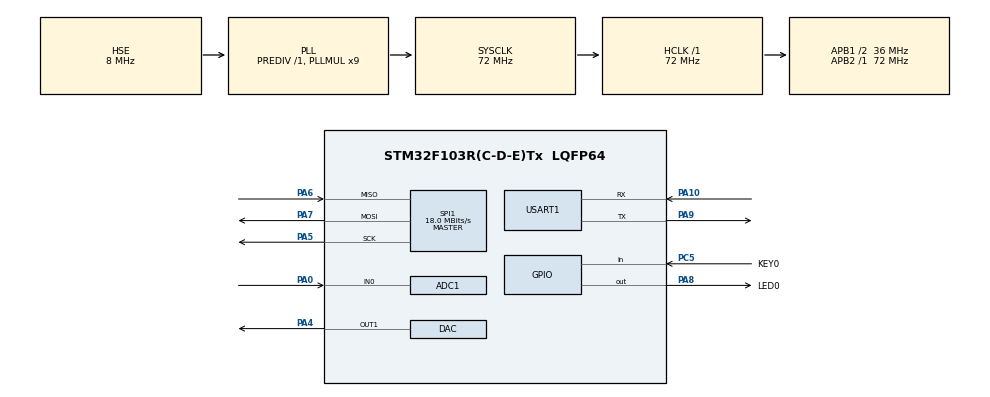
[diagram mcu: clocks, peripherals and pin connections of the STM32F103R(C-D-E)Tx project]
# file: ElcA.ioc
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ADC1.Channel-3\#ChannelRegularConversion=ADC_CHANNEL_0
ADC1.ExternalTrigConv=ADC_EXTERNALTRIGCONV_T3_TRGO
ADC1.NbrOfConversionFlag=1
ADC1.Rank-3\#ChannelRegularConversion=1
ADC1.SamplingTime-3\#ChannelRegularConversion=ADC_SAMPLETIME_1CYCLE_5
ADC1.master=1
DAC.DAC_Trigger=DAC_TRIGGER_T4_TRGO
DAC.WaveGeneration=DISABLE
Dma.ADC1.1.Direction=DMA_PERIPH_TO_MEMORY
Dma.ADC1.1.Instance=DMA1_Channel1
Dma.ADC1.1.MemDataAlignment=DMA_MDATAALIGN_WORD
Dma.ADC1.1.MemInc=DMA_MINC_ENABLE
Dma.ADC1.1.Mode=DMA_CIRCULAR
Dma.ADC1.1.PeriphDataAlignment=DMA_PDATAALIGN_WORD
Dma.ADC1.1.PeriphInc=DMA_PINC_DISABLE
Dma.ADC1.1.Priority=DMA_PRIORITY_LOW
Dma.DAC_CH1.0.Direction=DMA_MEMORY_TO_PERIPH
Dma.DAC_CH1.0.Instance=DMA2_Channel3
Dma.DAC_CH1.0.MemDataAlignment=DMA_MDATAALIGN_WORD
Dma.DAC_CH1.0.MemInc=DMA_MINC_ENABLE
Dma.DAC_CH1.0.Mode=DMA_CIRCULAR
Dma.DAC_CH1.0.PeriphDataAlignment=DMA_PDATAALIGN_WORD
Dma.DAC_CH1.0.PeriphInc=DMA_PINC_DISABLE
Dma.DAC_CH1.0.Priority=DMA_PRIORITY_LOW
Dma.Request0=DAC_CH1
Dma.Request1=ADC1
Mcu.Family=STM32F1
Mcu.Name=STM32F103R(C-D-E)Tx
Mcu.Package=LQFP64
NVIC.ADC1_2_IRQn=true\:0\:0\:false\:false\:true\:true\:true\:true
NVIC.DMA1_Channel1_IRQn=true\:0\:0\:false\:false\:true\:false\:true\:true
NVIC.DMA2_Channel3_IRQn=true\:0\:0\:false\:false\:true\:false\:true\:true
NVIC.PriorityGroup=NVIC_PRIORITYGROUP_4
PA0-WKUP.Signal=ADCx_IN0
PA10.Mode=Asynchronous
PA10.Signal=USART1_RX
PA13.Mode=Serial_Wire
PA13.Signal=SYS_JTMS-SWDIO
PA14.Mode=Serial_Wire
PA14.Signal=SYS_JTCK-SWCLK
PA4.Signal=COMP_DAC1_group
PA5.Mode=Full_Duplex_Master
PA5.Signal=SPI1_SCK
PA6.Mode=Full_Duplex_Master
PA6.Signal=SPI1_MISO
PA7.Mode=Full_Duplex_Master
PA7.Signal=SPI1_MOSI
PA8.GPIO_Label=LED0
PA8.GPIO_PuPd=GPIO_PULLUP
PA8.PinState=GPIO_PIN_SET
PA8.Signal=GPIO_Output
PA9.Mode=Asynchronous
PA9.Signal=USART1_TX
PC5.GPIO_Label=KEY0
PC5.GPIO_PuPd=GPIO_PULLUP
PC5.Signal=GPIO_Input
PD0-OSC_IN.Mode=HSE-External-Oscillator
PD0-OSC_IN.Signal=RCC_OSC_IN
PD1-OSC_OUT.Mode=HSE-External-Oscillator
PD1-OSC_OUT.Signal=RCC_OSC_OUT
ProjectManager.HeapSize=0x200
ProjectManager.StackSize=0x400
ProjectManager.TargetToolchain=MDK-ARM V5.32
RCC.ADCPresc=RCC_ADCPCLK2_DIV6
RCC.AHBFreq_Value=72000000
RCC.APB1CLKDivider=RCC_HCLK_DIV2
RCC.APB1Freq_Value=36000000
RCC.APB1TimFreq_Value=72000000
RCC.APB2Freq_Value=72000000
RCC.APB2TimFreq_Value=72000000
RCC.HCLKFreq_Value=72000000
RCC.PLLMUL=RCC_PLL_MUL9
RCC.PLLSourceVirtual=RCC_PLLSOURCE_HSE
RCC.SYSCLKFreq_VALUE=72000000
RCC.SYSCLKSource=RCC_SYSCLKSOURCE_PLLCLK
RCC.USBFreq_Value=72000000
SH.ADCx_IN0.0=ADC1_IN0,IN0
SH.COMP_DAC1_group.0=DAC_OUT1,DAC_OUT1
SPI1.BaudRatePrescaler=SPI_BAUDRATEPRESCALER_4
SPI1.CalculateBaudRate=18.0 MBits/s
SPI1.Direction=SPI_DIRECTION_2LINES
SPI1.Mode=SPI_MODE_MASTER
SPI1.VirtualType=VM_MASTER
TIM3.Period=20
TIM3.Prescaler=71
TIM3.TIM_MasterOutputTrigger=TIM_TRGO_UPDATE
TIM4.Period=10
TIM4.Prescaler=71
TIM4.TIM_MasterOutputTrigger=TIM_TRGO_UPDATE
TIM6.Prescaler=71
USART1.VirtualMode=VM_ASYNC
VP_TIM3_VS_ClockSourceINT.Mode=Internal
VP_TIM4_VS_ClockSourceINT.Mode=Internal
VP_TIM6_VS_ClockSourceINT.Mode=Enable_Timer
VP_TIM6_VS_OPM.Mode=OPM_bit
board=custom

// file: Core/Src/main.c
/* USER CODE BEGIN Header */
/**
  ******************************************************************************
  * @file           : main.c
  * @brief          : Main program body
  ******************************************************************************
  * @attention
  *
  * Copyright (c) 2023 STMicroelectronics.
  * All rights reserved.
  *
  * This software is licensed under terms that can be found in the LICENSE file
  * in the root directory of this software component.
  * If no LICENSE file comes with this software, it is provided AS-IS.
  *
  ******************************************************************************
  */
/* USER CODE END Header */
#include "main.h"
#include "adc.h"
#include "dac.h"
#include "dma.h"
#include "spi.h"
#include "tim.h"
#include "usart.h"
#include "gpio.h"
/* USER CODE BEGIN Includes */
#include "lcd9341.h"
#include "stdio.h"
#include "mygpio.h"
#include "string.h"
#include "Stdbool.h"
/* USER CODE END Includes */

/* USER CODE BEGIN PTD */
uint32_t wave[260]={0};
uint8_t wcount=0;
float vmax=0,vmin=3000;
int vmaxc=0,vminc=0,vpp=0,freq;
bool finish_flag=0;
/* USER CODE END PTD */

void SystemClock_Config(void);

/* USER CODE BEGIN 0 */

void GUI_INIT()
{
		//unsigned short int i,j;

		//LCD_ShowString(100,0,100,16,16, "1KHZ");

		LCD_DrawRectangle(19,15,281,215);

		LCD_ShowString(1,208,18,12,12, " -2V");
		LCD_ShowString(1,170,18,12,12, " -1V");
		LCD_ShowString(1,132,18,12,12, " 0V");
		LCD_ShowString(1,94,18,12,12, " 1V");
		LCD_ShowString(1,56,18,12,12, " 2V");
		LCD_ShowString(1,18,18,12,12, " 3V");

		LCD_ShowString(16,218,18,12,12, "0");
		LCD_ShowString(60,218,18,12,12, "200");
		LCD_ShowString(115,218,24,12,12, "400");
		LCD_ShowString(164,218,24,12,12, "600");
		LCD_ShowString(213,218,24,12,12, "800");
		LCD_ShowString(262,218,24,12,12, "1000");
    LCD_ShowString(285,218,24,12,12, "us");
}

/* USER CODE END 0 */

int main(void)
{
  /* USER CODE BEGIN 1 */
  //颜色设置
  POINT_COLOR = RED;
  BACK_COLOR = BLACK;
  int i,j,dac=0;
  /* USER CODE END 1 */

  /* MCU Configuration--------------------------------------------------------*/

  /* Reset of all peripherals, Initializes the Flash interface and the Systick. */
  HAL_Init();

  /* Configure the system clock */
  SystemClock_Config();

  /* Initialize all configured peripherals */
  MX_GPIO_Init();
  MX_DMA_Init();
  MX_SPI1_Init();
  MX_TIM6_Init();
  MX_USART1_UART_Init();
  MX_ADC1_Init();
  MX_DAC_Init();
  MX_TIM3_Init();
  MX_TIM4_Init();
  /* USER CODE BEGIN 2 */
	__HAL_SPI_ENABLE(&hspi1);
	GPIO_Init();
	LCD_Init();
  LCD_Display_Dir(1);               //横屏
  printf("USART TSET\n");
	Show_Str(50,51,200,16,(uint8_t*)"中文字库正常",16,0);//输出文件名
  LCD_Clear(BLACK);
  GUI_INIT();
  HAL_TIM_Base_Start_IT(&htim3);
  /* USER CODE END 2 */

  /* Infinite loop */
  while (1)
  {

    /* USER CODE BEGIN 3 */
    HAL_ADC_Start_DMA(&hadc1,wave,260);
    while(__HAL_DMA_GET_FLAG(&hdma_adc1, DMA_FLAG_TC1)==0);
    HAL_ADC_Stop_DMA(&hadc1);
    __HAL_DMA_CLEAR_FLAG(&hdma_adc1, DMA_FLAG_TC1);
    LCD_ShowString(290,20,24,12,12, "ADC");
    for(i=0;i<259;i++)
    {
      for(j=1;j<185;j++)
      {
        LCD_Fast_DrawPoint(i+20,j+25,BLACK);
      }
      POINT_COLOR = RED;
      LCD_DrawLine(i+20,202-wave[i]*(3.3/4096)*38,i+21,202-wave[i+1]*(3.3/4096)*38);
      if(HAL_GPIO_ReadPin(KEY0_GPIO_Port,KEY0_Pin)==0)
      {
        dac=1;
      }
    }
    /*if(wave[i]>vmax)
      {
        vmax=wave[i];
        vmaxc=wcount;
      }
      if(wave[i]<vmin)
      {
        vmin=wave[i];
        vminc=wcount;
      }
      freq=(1000000.0/((vminc-vmaxc)*5));
      LCD_ShowNum(290,35,freq,5,12);
      LCD_ShowString(290,50,24,12,12,"khz");*/
    if(dac)
    {
      LCD_ShowString(290,20,24,12,12, "DAC");
      HAL_TIM_Base_Stop_IT(&htim3);
      HAL_TIM_Base_Start_IT(&htim4);
      HAL_DAC_Start_DMA(&hdac,DAC_CHANNEL_1,wave,260,DAC_ALIGN_12B_R);
      while(1)
      {
        while(__HAL_DMA_GET_FLAG(&hdac, DMA_FLAG_TC1)==0)
        {
          if(HAL_GPIO_ReadPin(KEY0_GPIO_Port,KEY0_Pin)!=0)
          goto here;
        }
        __HAL_DMA_CLEAR_FLAG(&hdac, DMA_FLAG_TC1);
        HAL_DAC_Start_DMA(&hdac,DAC_CHANNEL_1,wave,260,DAC_ALIGN_12B_R);
      }
      here:
      dac=0;
      HAL_TIM_Base_Stop_IT(&htim4);
      HAL_TIM_Base_Start_IT(&htim3);
    }
  }
  /* USER CODE END 3 */
}

void SystemClock_Config(void)
{
  RCC_OscInitTypeDef RCC_OscInitStruct = {0};
  RCC_ClkInitTypeDef RCC_ClkInitStruct = {0};
  RCC_PeriphCLKInitTypeDef PeriphClkInit = {0};

  /** Initializes the RCC Oscillators according to the specified parameters
  * in the RCC_OscInitTypeDef structure.
  */
  RCC_OscInitStruct.OscillatorType = RCC_OSCILLATORTYPE_HSE;
  RCC_OscInitStruct.HSEState = RCC_HSE_ON;
  RCC_OscInitStruct.HSEPredivValue = RCC_HSE_PREDIV_DIV1;
  RCC_OscInitStruct.HSIState = RCC_HSI_ON;
  RCC_OscInitStruct.PLL.PLLState = RCC_PLL_ON;
  RCC_OscInitStruct.PLL.PLLSource = RCC_PLLSOURCE_HSE;
  RCC_OscInitStruct.PLL.PLLMUL = RCC_PLL_MUL9;
  if (HAL_RCC_OscConfig(&RCC_OscInitStruct) != HAL_OK)
  {
    Error_Handler();
  }

  /** Initializes the CPU, AHB and APB buses clocks
  */
  RCC_ClkInitStruct.ClockType = RCC_CLOCKTYPE_HCLK|RCC_CLOCKTYPE_SYSCLK
                              |RCC_CLOCKTYPE_PCLK1|RCC_CLOCKTYPE_PCLK2;
  RCC_ClkInitStruct.SYSCLKSource = RCC_SYSCLKSOURCE_PLLCLK;
  RCC_ClkInitStruct.AHBCLKDivider = RCC_SYSCLK_DIV1;
  RCC_ClkInitStruct.APB1CLKDivider = RCC_HCLK_DIV2;
  RCC_ClkInitStruct.APB2CLKDivider = RCC_HCLK_DIV1;

  if (HAL_RCC_ClockConfig(&RCC_ClkInitStruct, FLASH_LATENCY_2) != HAL_OK)
  {
    Error_Handler();
  }
  PeriphClkInit.PeriphClockSelection = RCC_PERIPHCLK_ADC;
  PeriphClkInit.AdcClockSelection = RCC_ADCPCLK2_DIV6;
  if (HAL_RCCEx_PeriphCLKConfig(&PeriphClkInit) != HAL_OK)
  {
    Error_Handler();
  }
}

void Error_Handler(void)
{
  __disable_irq();
  while (1)
  {
  }
}
